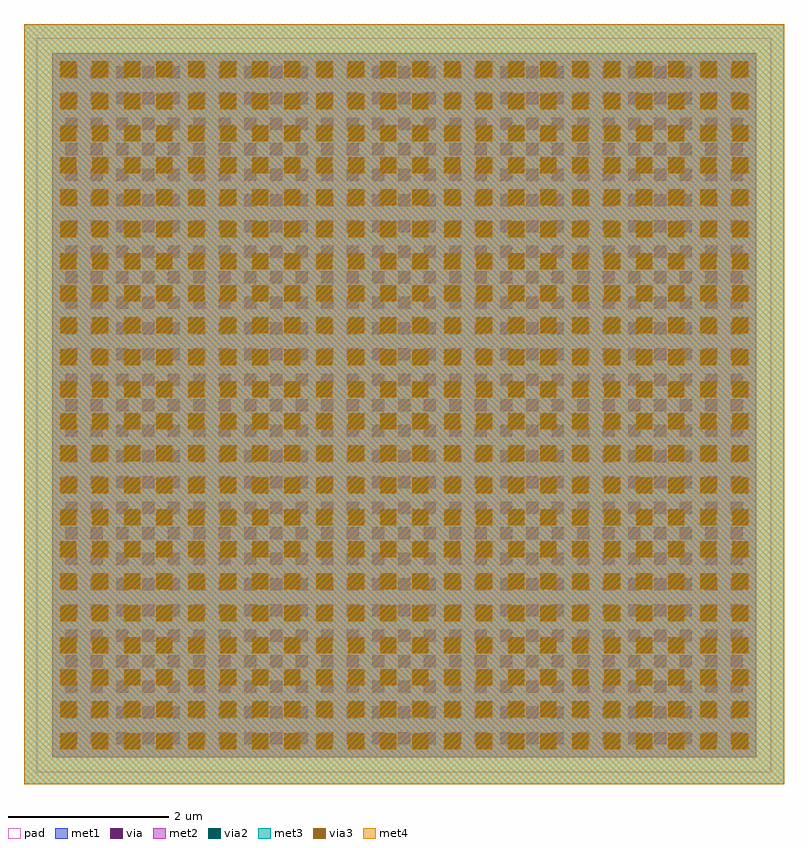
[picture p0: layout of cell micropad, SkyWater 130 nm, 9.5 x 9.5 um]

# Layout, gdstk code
import gdstk
lib = gdstk.Library(unit=1e-6, precision=1e-09)
def R(c, l, rs):  # rectangles x0, y0, x1, y1
    for r in rs: c.add(gdstk.rectangle(r[:2], r[2:], *l))
def A(c, l, x, y, w, h, nx, ny, dx, dy):  # array of equal rectangles
    R(c, l, [(x+i*dx, y+j*dy, x+i*dx+w, y+j*dy+h) for i in range(nx) for j in range(ny)])
met1 = (68, 20)
via = (68, 44)
met2 = (69, 20)
via2 = (69, 44)
met3 = (70, 20)
via3 = (70, 44)
met4 = (71, 20)
pad = (76, 20)

micropad = lib.new_cell('micropad')
R(micropad, met1, [(-4.4,-4.415,4.4,4.385)])
A(micropad, via, -4.235, -4.25, 0.15, 0.15, 27, 27, 0.32, 0.32)
R(micropad, met2, [(-4.4,-4.415,4.4,4.385)])
A(micropad, via2, -4.3, -4.315, 0.2, 0.2, 22, 22, 0.4, 0.4)
R(micropad, met3, [(-4.75,-4.75,4.75,4.75)])
A(micropad, via3, -4.3, -4.315, 0.2, 0.2, 22, 22, 0.4, 0.4)
R(micropad, met4, [(-4.75,-4.75,4.75,4.75)])
R(micropad, pad, [(-4.59,-4.605,4.59,4.575)])

lib.write_gds('micropad.gds')
